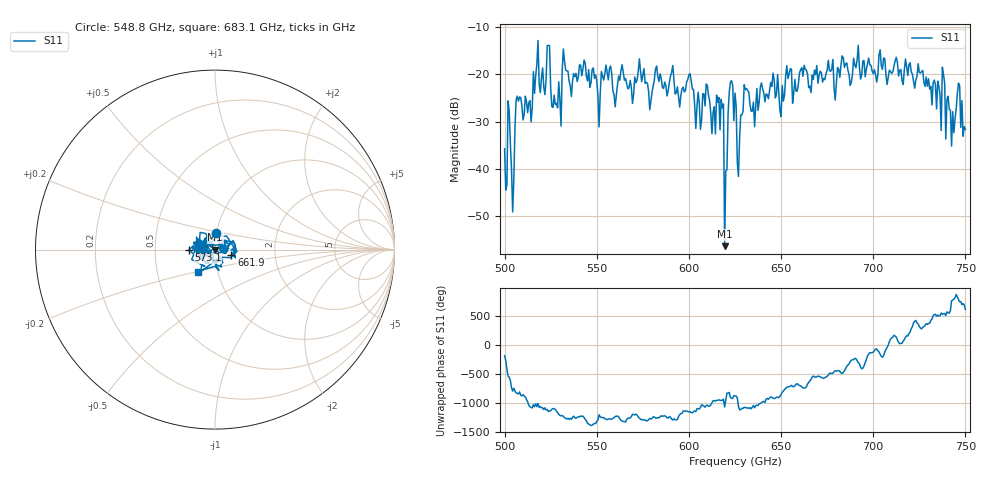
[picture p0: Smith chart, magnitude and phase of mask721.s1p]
!Created with skrf (http://scikit-rf.org).
# GHz S MA R 50.0
!freq magS11 angS11
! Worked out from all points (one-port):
!   401 points, 500 GHz to 750 GHz, reference 50 ohm
!   lowest |S11| = -56.4 dB at 619.4 GHz (marker M1), VSWR 1.00, Z = 50.1 + j0.0319 ohm
!   |S11| at or under -10 dB: start of sweep to end of sweep
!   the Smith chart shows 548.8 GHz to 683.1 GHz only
!   S11 on the Smith chart (normalised r, x): 548.8 GHz: 0.99, +0.18; 573.1 GHz: 0.74, -0.00; 661.9 GHz: 1.20, -0.07; 683.1 GHz: 0.80, -0.21
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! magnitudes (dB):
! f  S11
! 500 GHz  -35.7
! 502.5 GHz  -27.7
! 504.4 GHz  -49.1
! 507.5 GHz  -25.7
! 513.8 GHz  -25.6
! 516.9 GHz  -20.2
! 523.8 GHz  -13.8
! 526.9 GHz  -24.4
! 531.2 GHz  -19.2
! 548.8 GHz  -20.8
! 562.5 GHz  -21.2
! 573.1 GHz  -16.7
! 593.8 GHz  -22.7
! 617.5 GHz  -25.3
! 619.4 GHz  -56.4
! 620.6 GHz  -40.2
! 622.5 GHz  -21.6
! 625 GHz  -23.9
! 627.5 GHz  -33.4
! 631.2 GHz  -23.0
! 656.2 GHz  -26.1
! 661.9 GHz  -20.4
! 683.1 GHz  -16.1
! 687.5 GHz  -22.3
! 718.8 GHz  -20.2
! 743.1 GHz  -27.9
! 746.9 GHz  -22.3
! 750 GHz  -31.6
